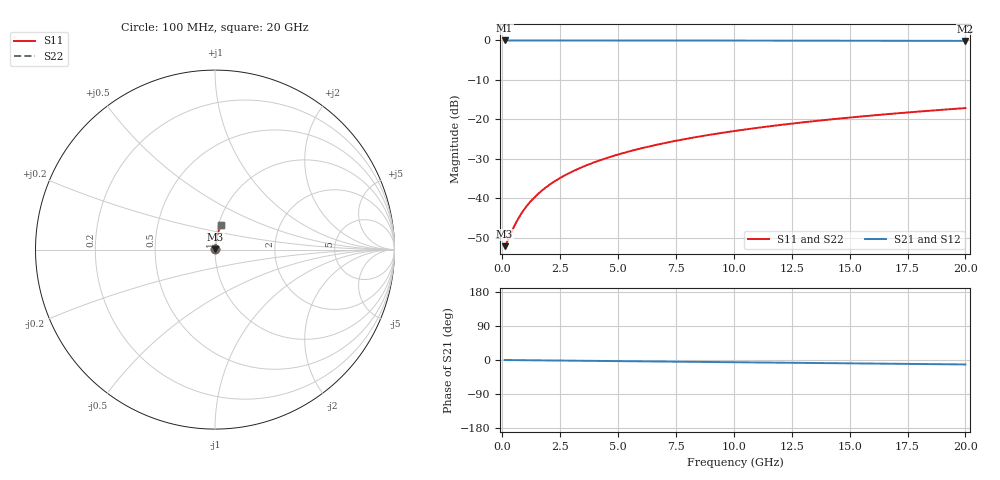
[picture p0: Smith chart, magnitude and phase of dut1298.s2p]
! Touchstone file exported from HFSS 2026.1.0
!  File:  C:/ffzhzh/LocalFiles/Ansys_Project_Files/temp_train_TSV_1298_1783194694_43440.aedt
!  Generated:  03:53:54 AM Jul  5, 2026
!  Design:  TSV
!  Project:  temp_train_TSV_1298_1783194694_43440
! Variables:
!  h_bsmrdl = 2um
!  h_ox = 20um
!  h_rdl = 5um
!  h_sub = 86.05um
!  h_tmrdl = 5um
!  h_tsv = 86.05um
!  h_via = 3um
!  l_bsmrdl = 300um
!  l_sub = 404.08um
!  l_tmrdl = 200um
!  m_sub = 200um
!  pitch = 38.19um
!  r_tsv = 2.04um
!  s_tmrdl = 10um
!  w_bsmrdl = 18um
!  w_sub = 500um
!  w_tmrdl = 12um
!  x_tsv_center1 = 206um
!  x_tsv_center2 = 524um
!  x_tsv_center3 = 736um
!  x_tsv_center4 = 1054um
!  x_tsv_center5 = 1266um
!  x_tsv_center6 = 1584um
# GHz S MA R 50.000000
! Terminal data exported
! Port[1] = TSV1_1_T1
! Port[2] = TSV1_1_T2
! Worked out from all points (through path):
!   200 points, 100 MHz to 20 GHz, reference 50 ohm
!   highest |S21| = -0.02 dB at 100 MHz (marker M1); lowest = -0.1 dB at 20 GHz (marker M2)
!   group delay of S21, straight-line fit = 1.63 ps
!   lowest |S11| = -52.2 dB at 100 MHz (marker M3), VSWR 1.00, Z = 50.2 + j0.0724 ohm
!   |S11| at or under -10 dB: start of sweep to end of sweep
!   |S22| runs from -52.2 to -17.2 dB; largest |S21 - S12| = 7.2e-15
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0.1  0.002469 17.0  0.9976 -0.1  0.9976 -0.1  0.002469 17.0
! Gamma 0 0 0 0
! Port Impedance 50 0 50 0
0.2  0.00277 31.3  0.9976 -0.1  0.9976 -0.1  0.00277 31.3
0.5  0.00432 56.3  0.9976 -0.3  0.9976 -0.3  0.00432 56.3
0.6  0.004938 60.8  0.9976 -0.4  0.9976 -0.4  0.004938 60.8
0.8  0.006236 66.9  0.9976 -0.5  0.9976 -0.5  0.006236 66.9
0.9  0.006904 69.1  0.9976 -0.5  0.9976 -0.5  0.006904 69.1
1.1  0.008263 72.4  0.9976 -0.7  0.9976 -0.7  0.008263 72.4
1.4  0.01034 75.6  0.9975 -0.8  0.9975 -0.8  0.01034 75.6
1.8  0.01313 78.2  0.9975 -1.1  0.9975 -1.1  0.01313 78.2
2.3  0.01666 80.1  0.9974 -1.4  0.9974 -1.4  0.01666 80.1
2.9  0.0209 81.4  0.9973 -1.7  0.9973 -1.7  0.0209 81.4
3.5  0.02516 82.1  0.9971 -2.1  0.9971 -2.1  0.02516 82.1
4.2  0.03012 82.5  0.9969 -2.5  0.9969 -2.5  0.03012 82.5
5  0.03579 82.7  0.9967 -3.0  0.9967 -3.0  0.03579 82.7
5.9  0.04216 82.7  0.9963 -3.5  0.9963 -3.5  0.04216 82.7
6.8  0.04851 82.5  0.9959 -4.1  0.9959 -4.1  0.04851 82.5
8.3  0.05904 82.0  0.9952 -4.9  0.9952 -4.9  0.05904 82.0
10.1  0.0716 81.3  0.9941 -6.0  0.9941 -6.0  0.0716 81.3
11.7  0.08268 80.5  0.993 -6.9  0.993 -6.9  0.08268 80.5
13.4  0.09435 79.7  0.9917 -7.9  0.9917 -7.9  0.09435 79.7
16.7  0.1167 78.0  0.9888 -9.9  0.9888 -9.9  0.1167 78.0
20  0.1387 76.2  0.9854 -11.8  0.9854 -11.8  0.1387 76.2
